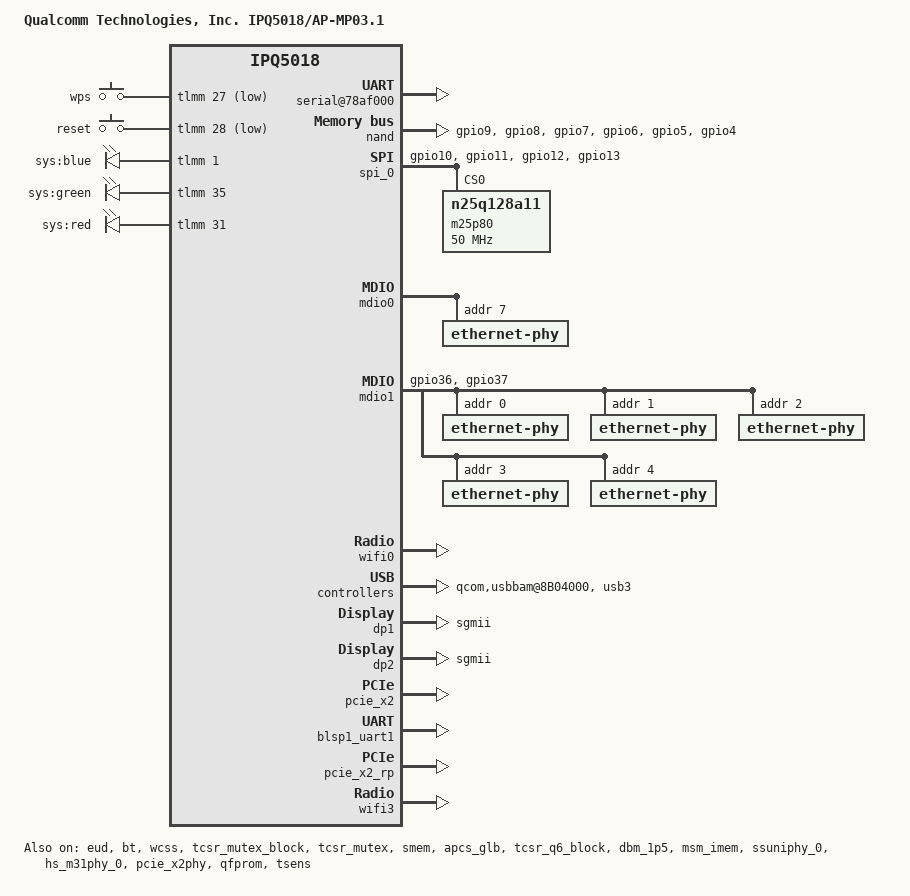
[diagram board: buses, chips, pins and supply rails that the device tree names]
/dts-v1/;
/* Copyright (c) 2018-2020, The Linux Foundation. All rights reserved.
 *
 * Permission to use, copy, modify, and/or distribute this software for any
 * purpose with or without fee is hereby granted, provided that the above
 * copyright notice and this permission notice appear in all copies.
 *
 * THE SOFTWARE IS PROVIDED "AS IS" AND THE AUTHOR DISCLAIMS ALL WARRANTIES
 * WITH REGARD TO THIS SOFTWARE INCLUDING ALL IMPLIED WARRANTIES OF
 * MERCHANTABILITY AND FITNESS. IN NO EVENT SHALL THE AUTHOR BE LIABLE FOR
 * ANY SPECIAL, DIRECT, INDIRECT, OR CONSEQUENTIAL DAMAGES OR ANY DAMAGES
 * WHATSOEVER RESULTING FROM LOSS OF USE, DATA OR PROFITS, WHETHER IN AN
 * ACTION OF CONTRACT, NEGLIGENCE OR OTHER TORTIOUS ACTION, ARISING OUT OF
 * OR IN CONNECTION WITH THE USE OR PERFORMANCE OF THIS SOFTWARE.
 */

#include "qcom-ipq5018.dtsi"

/ {
	#address-cells = <0x2>;
	#size-cells = <0x2>;
	model = "Qualcomm Technologies, Inc. IPQ5018/AP-MP03.1";
	compatible = "qcom,ipq5018-mp03.1", "qcom,ipq5018";
	interrupt-parent = <&intc>;
	#ifdef __IPQ_MEM_PROFILE_256_MB__
	AUTO_MOUNT;
	#endif

	aliases {
		sdhc1 = &sdhc_1; /* SDC1 eMMC slot */
		serial0 = &blsp1_uart1;
		serial1 = &blsp1_uart2;
		ethernet0 = "/soc/dp1";
		ethernet1 = "/soc/dp2";
	        led-boot = &led_sys;
		led-failsafe = &led_sys;
		led-running = &led_sys;
		led-upgrade = &led_sys;
	};

	chosen {
		bootargs = "console=ttyMSM0,115200,n8 rw init=/init";
	#ifdef __IPQ_MEM_PROFILE_256_MB__
		bootargs-append = " swiotlb=1";
	#else
		bootargs-append = " swiotlb=1 coherent_pool=2M";
	#endif
		stdout-path = "serial0";
	};

	reserved-memory {
	#ifdef __IPQ_MEM_PROFILE_256_MB__
	/*            256 MB Profile
	 * +=========+==============+========================+
	 * |        |              |                         |
	 * | Region | Start Offset |          Size           |
	 * |        |              |                         |
	 * +--------+--------------+-------------------------+
	 * |        |              |                         |
	 * |        |              |                         |
	 * |  NSS   |  0x40000000  |          8MB            |
	 * |        |              |                         |
	 * |        |              |                         |
	 * +--------+--------------+-------------------------+
	 * |        |              |                         |
	 * |        |              |                         |
	 * |        |              |                         |
	 * |        |              |                         |
	 * | Linux  |  0x40800000  | Depends on total memory |
	 * |        |              |                         |
	 * |        |              |                         |
	 * |        |              |                         |
	 * +        |              |                         |
	 * +--------+--------------+-------------------------+
	 * |        |              |                         |
	 * | uboot  |  0x4A600000  |           4MB           |
	 * |        |              |                         |
	 * +--------+--------------+-------------------------+
	 * |  SBL   |  0x4AA00000  |           1MB           |
	 * +--------+--------------+-------------------------+
	 * |  smem  |  0x4AB00000  |           1MB           |
	 * +--------+--------------+-------------------------+
	 * |        |              |                         |
	 * |   TZ   |  0x4AC00000  |           4MB           |
	 * |        |              |                         |
	 * +--------+--------------+-------------------------+
	 * |        |              |                         |
	 * |        |              |                         |
	 * |        |              |                         |
	 * |   Q6   |  0x4B000000  |          23MB           |
	 * |        |              |                         |
	 * |        |              |                         |
	 * |        |              |                         |
	 * +--------+--------------+-------------------------+
	 * | M3 Dump| 0x4C700000   |          1MB            |
	 * +--------+--------------+-------------------------+
	 * | QDSS   | 0x4C800000   |          1MB            |
	 * +--------+--------------+-------------------------+
	 * |        |              |                         |
	 * |QCN9000 |  0x4C900000  |          17MB           |
	 * |        |              |                         |
	 * +--------+--------------+-------------------------+
	 * |        |              |                         |
	 * |  MHI1  |  0x4DA00000  |          16MB           |
	 * |        |              |                         |
	 * +--------+--------------+-------------------------+
	 * |                                                 |
	 * |      Rest of the memory for Linux               |
	 * |                                                 |
	 * +=================================================+
	 */
		q6_region: wcnss@4b000000 {
			no-map;
			reg = <0x0 0x4b000000 0x0 0x01700000>;
		};

		m3_dump@4c700000 {
			no-map;
			reg = <0x0 0x4C700000 0x0 0x100000>;
		};

		q6_etr_region:q6_etr_dump@4c800000 {
			no-map;
			reg = <0x0 0x4c800000 0x0 0x100000>;
		};

		qcn9000_pcie0@4c900000 {
			no-map;
			reg = <0x0 0x4C900000 0x0 0x01100000>;
		};

		mhi_region1: dma_pool1@4da00000 {
			compatible = "shared-dma-pool";
			no-map;
			reg = <0x0 0x4da00000 0x0 0x01000000>;
		};
	#elif __IPQ_MEM_PROFILE_512_MB__
	/*                      512 MB Profile
	 * +=========+==============+========================+
	 * |        |              |                         |
	 * | Region | Start Offset |          Size           |
	 * |        |              |                         |
	 * +--------+--------------+-------------------------+
	 * |        |              |                         |
	 * |        |              |                         |
	 * |  NSS   |  0x40000000  |          16MB           |
	 * |        |              |                         |
	 * |        |              |                         |
	 * +--------+--------------+-------------------------+
	 * |        |              |                         |
	 * |        |              |                         |
	 * |        |              |                         |
	 * |        |              |                         |
	 * | Linux  |  0x41000000  | Depends on total memory |
	 * |        |              |                         |
	 * |        |              |                         |
	 * |        |              |                         |
	 * |        |              |                         |
	 * +--------+--------------+-------------------------+
	 * |        |              |                         |
	 * | uboot  |  0x4A600000  |           4MB           |
	 * |        |              |                         |
	 * +--------+--------------+-------------------------+
	 * |  SBL   |  0x4AA00000  |           1MB           |
	 * +--------+--------------+-------------------------+
	 * |  smem  |  0x4AB00000  |           1MB           |
	 * +--------+--------------+-------------------------+
	 * |        |              |                         |
	 * |   TZ   |  0x4AC00000  |           4MB           |
	 * |        |              |                         |
	 * +--------+--------------+-------------------------+
	 * |        |              |                         |
	 * |        |              |                         |
	 * |        |              |                         |
	 * |   Q6   |  0x4B000000  |          24MB           |
	 * |        |              |                         |
	 * |        |              |                         |
	 * +--------+--------------+-------------------------+
	 * | M3 Dump|  0x4C800000  |           1MB           |
	 * +--------+--------------+-------------------------+
	 * |  QDSS  |  0x4C900000  |           1MB           |
	 * +--------+--------------+-------------------------+
	 * | caldb  |  0x4CA00000  |           2MB           |
	 * +--------+--------------+-------------------------+
	 * |        |              |                         |
	 * |QCN9000 |  0x4CC00000  |          30MB           |
	 * |        |              |                         |
	 * +--------+--------------+-------------------------+
	 * |        |              |                         |
	 * |  MHI1  |  0x4EA00000  |          16MB           |
	 * |        |              |                         |
	 * +--------+--------------+-------------------------+
	 * |                                                 |
	 * |      Rest of the memory for Linux               |
	 * |                                                 |
	 * +=================================================+
	 */
		q6_region: wcnss@4b000000 {
			no-map;
			reg = <0x0 0x4b000000 0x0 0x01800000>;
		};

		m3_dump@4c800000 {
			no-map;
			reg = <0x0 0x4c800000 0x0 0x100000>;
		};

		q6_etr_region:q6_etr_dump@4c900000 {
			no-map;
			reg = <0x0 0x4c900000 0x0 0x100000>;
		};

		q6_caldb_region:q6_caldb_region@4ca00000 {
			no-map;
			reg = <0x0 0x4ca00000 0x0 0x200000>;
		};

		qcn9000_pcie0@4cc00000 {
			no-map;
			reg = <0x0 0x4CC00000 0x0 0x01E00000>;
		};

		mhi_region1: dma_pool1@4ea00000 {
			compatible = "shared-dma-pool";
			no-map;
			reg = <0x0 0x4ea00000 0x0 0x01000000>;
		};
	#else
	/*                      1G Profile
	 * +=========+==============+========================+
	 * |        |              |                         |
	 * | Region | Start Offset |          Size           |
	 * |        |              |                         |
	 * +--------+--------------+-------------------------+
	 * |        |              |                         |
	 * |        |              |                         |
	 * |  NSS   |  0x40000000  |          16MB           |
	 * |        |              |                         |
	 * |        |              |                         |
	 * +--------+--------------+-------------------------+
	 * |        |              |                         |
	 * |        |              |                         |
	 * |        |              |                         |
	 * |        |              |                         |
	 * | Linux  |  0x41000000  | Depends on total memory |
	 * |        |              |                         |
	 * |        |              |                         |
	 * |        |              |                         |
	 * |        |              |                         |
	 * +--------+--------------+-------------------------+
	 * |        |              |                         |
	 * | uboot  |  0x4A600000  |           4MB           |
	 * |        |              |                         |
	 * +--------+--------------+-------------------------+
	 * |  SBL   |  0x4AA00000  |           1MB           |
	 * +--------+--------------+-------------------------+
	 * |  smem  |  0x4AB00000  |           1MB           |
	 * +--------+--------------+-------------------------+
	 * |        |              |                         |
	 * |   TZ   |  0x4AC00000  |           4MB           |
	 * |        |              |                         |
	 * +--------+--------------+-------------------------+
	 * |        |              |                         |
	 * |        |              |                         |
	 * |        |              |                         |
	 * |   Q6   |  0x4B000000  |          24MB           |
	 * |        |              |                         |
	 * |        |              |                         |
	 * +--------+--------------+-------------------------+
	 * | M3 Dump|  0x4C800000  |           1MB           |
	 * +--------+--------------+-------------------------+
	 * |  QDSS  |  0x4C900000  |           1MB           |
	 * +--------+--------------+-------------------------+
	 * | caldb  |  0x4CA00000  |           2MB           |
	 * +--------+--------------+-------------------------+
	 * |        |              |                         |
	 * |QCN9000 |  0x4CC00000  |          45MB           |
	 * |        |              |                         |
	 * +--------+--------------+-------------------------+
	 * |        |              |                         |
	 * |  MHI1  |  0x4F900000  |          24MB           |
	 * |        |              |                         |
	 * +--------+--------------+-------------------------+
	 * |                                                 |
	 * |      Rest of the memory for Linux               |
	 * |                                                 |
	 * +=================================================+
	 */
		q6_region: wcnss@4b000000 {
			no-map;
			reg = <0x0 0x4b000000 0x0 0x01800000>;
		};

		m3_dump@4c800000 {
			no-map;
			reg = <0x0 0x4c800000 0x0 0x100000>;
		};

		q6_etr_region:q6_etr_dump@4c900000 {
			no-map;
			reg = <0x0 0x4c900000 0x0 0x100000>;
		};

		q6_caldb_region:q6_caldb_region@4ca00000 {
			no-map;
			reg = <0x0 0x4ca00000 0x0 0x200000>;
		};

		qcn9000_pcie0@4cc00000 {
			no-map;
			reg = <0x0 0x4CC00000 0x0 0x02D00000>;
		};

		mhi_region1: dma_pool1@4F900000 {
			compatible = "shared-dma-pool";
			no-map;
			reg = <0x0 0x4F900000 0x0 0x01800000>;
		};
	#endif
	};

	soc {
		serial@78af000 {
			status = "ok";
		};

		blsp1_uart2: serial@78b0000 {
			pinctrl-0 = <&blsp1_uart_pins>;
			pinctrl-names = "default";
		};

		qpic_bam: dma@7984000{
			status = "ok";
		};

		nand: qpic-nand@79b0000 {
			pinctrl-0 = <&qspi_nand_pins>;
			pinctrl-names = "default";
			status = "ok";
		};

		spi_0: spi@78b5000 { /* BLSP1 QUP0 */
			pinctrl-0 = <&blsp0_spi_pins>;
			pinctrl-names = "default";
			cs-select = <0>;
			status = "ok";

			m25p80@0 {
				#address-cells = <1>;
				#size-cells = <1>;
				reg = <0>;
				compatible = "n25q128a11";
				linux,modalias = "m25p80", "n25q128a11";
				spi-max-frequency = <50000000>;
				use-default-sizes;
			};
		};

		mdio0: mdio@88000 {
			status = "ok";

			ethernet-phy@0 {
				reg = <7>;
			};
		};

		mdio1: mdio@90000 {
			status = "ok";
			pinctrl-0 = <&mdio1_pins>;
			pinctrl-names = "default";
			phy-reset-gpio = <&tlmm 39 0>;
			ethernet-phy@0 {
				reg = <0>;
			};

			ethernet-phy@1 {
				reg = <1>;
			};

			ethernet-phy@2 {
				reg = <2>;
			};

			ethernet-phy@3 {
				reg = <3>;
			};

			ethernet-phy@4 {
				reg = <4>;
			};
		};

		ess-instance {
			num_devices = <0x2>;
			ess-switch@0x39c00000 {
				compatible = "qcom,ess-switch-ipq50xx";
				device_id = <0>;
				switch_mac_mode = <0xf>; /* mac mode for uniphy instance*/
				cmnblk_clk = "internal_96MHz"; /* cmnblk clk*/
				qcom,port_phyinfo {
					port@0 {
						port_id = <1>;
						phy_address = <7>;
					};
					port@1 {
						port_id = <2>;
						forced-speed = <1000>;
						forced-duplex = <1>;
					};
				};
				led_source@0 {
					source = <2>;
					mode = "normal";
					speed = "1000M";
					blink_en = "enable";
					active = "high";
				};
				led_source@1 {
					source = <0>;
					mode = "normal";
					speed = "100M";
					blink_en = "enable";
					active = "high";
				};
			};
			ess-switch1@1 {
				compatible = "qcom,ess-switch-qca83xx";
				device_id = <1>;
				switch_access_mode = "mdio";
				mdio-bus = <&mdio1>;
				reset_gpio = <0x27>;
				switch_cpu_bmp = <0x40>;  /* cpu port bitmap */
				switch_lan_bmp = <0x3c>; /* lan port bitmap */
				switch_wan_bmp = <0x0>;  /* wan port bitmap */
				qca,ar8327-initvals = <
						0x00004 0x7600000   /* PAD0_MODE */
						0x00008 0x1000000   /* PAD5_MODE */
						0x0000c 0x80        /* PAD6_MODE */
						0x00010 0x2613a0    /* PORT6 FORCE MODE*/
						0x000e4 0xaa545     /* MAC_POWER_SEL */
						0x000e0 0xc74164de  /* SGMII_CTRL */
						0x0007c 0x4e        /* PORT0_STATUS */
						0x00094 0x4e        /* PORT6_STATUS */
				>;
				qcom,port_phyinfo {
					port@0 {
						port_id = <1>;
						phy_address = <0>;
					};
					port@1 {
						port_id = <2>;
						phy_address = <1>;
					};
					port@2 {
						port_id = <3>;
						phy_address = <2>;
					};
					port@3 {
						port_id = <4>;
						phy_address = <3>;
					};
					port@4 {
						port_id = <5>;
						phy_address = <4>;
					};
				};
			};
		};

		wifi0: wifi@c000000 {
			qcom,bdf-addr = <0x4BA00000 0x4BA00000 0x4BA00000
						0x0 0x0>;
			qcom,caldb-addr = <0x4CA00000 0x4CA00000 0x4CA00000
						0x0 0x0>;
			qcom,caldb-size = <0x200000>;
			status = "ok";
		};

		ess-uniphy@98000 {
			status = "disabled";
		};

		qcom,sps {
			status = "ok";
		};

		qcom,usbbam@8B04000 {
			status = "ok";
		};

		qcom,diag@0 {
			status = "ok";
		};

		dp1 {
			device_type = "network";
			compatible = "qcom,nss-dp";
			clocks = <&gcc GCC_SNOC_GMAC0_AXI_CLK>;
			clock-names = "nss-snoc-gmac-axi-clk";
			qcom,id = <1>;
			reg = <0x39C00000 0x10000>;
			interrupts = <GIC_SPI 101 IRQ_TYPE_LEVEL_HIGH>;
			qcom,mactype = <2>;
			qcom,link-poll = <1>;
			qcom,phy-mdio-addr = <7>;
			mdio-bus = <&mdio0>;
			local-mac-address = [000000000000];
			phy-mode = "sgmii";
		};

		dp2 {
			device_type = "network";
			compatible = "qcom,nss-dp";
			clocks = <&gcc GCC_SNOC_GMAC1_AXI_CLK>;
			clock-names = "nss-snoc-gmac-axi-clk";
			qcom,id = <2>;
			reg = <0x39D00000 0x10000>;
			interrupts = <GIC_SPI 109 IRQ_TYPE_LEVEL_HIGH>;
			qcom,mactype = <2>;
			local-mac-address = [000000000000];
			phy-mode = "sgmii";
		};

		rpm_etm0 {
			status = "disabled";
		};
	};

	thermal-zones {
		status = "ok";
	};
};

&tlmm {
	pinctrl-0 = <&blsp0_uart_pins &phy_led_pins>;
	pinctrl-names = "default";

	blsp0_uart_pins: blsp0_uart_pins {
		blsp0_uart_rx_tx {
			pins = "gpio20", "gpio21";
			function = "blsp0_uart0";
			bias-disable;
		};
	};

	blsp1_uart_pins: blsp1_uart_pins {
		blsp1_uart_rx_tx {
			pins = "gpio23", "gpio25", "gpio24", "gpio26";
			function = "blsp1_uart2";
			bias-disable;
		};
	};

	blsp0_spi_pins: blsp0_spi_pins {
		mux {
			pins = "gpio10", "gpio11", "gpio12", "gpio13";
			function = "blsp0_spi";
			drive-strength = <2>;
			bias-disable;
		};
	};

	qspi_nand_pins: qspi_nand_pins {
		qspi_clock {
				pins = "gpio9";
				function = "qspi_clk";
				drive-strength = <8>;
				bias-disable;
			};
		qspi_cs {
				pins = "gpio8";
				function = "qspi_cs";
				drive-strength = <8>;
				bias-disable;
			};
		qspi_data_0 {
				pins = "gpio7";
				function = "qspi0";
				drive-strength = <8>;
				bias-disable;
			};
		qspi_data_1 {
				pins = "gpio6";
				function = "qspi1";
				drive-strength = <8>;
				bias-disable;
			};
		qspi_data_2 {
				pins = "gpio5";
				function = "qspi2";
				drive-strength = <8>;
				bias-disable;
			};
		qspi_data_3 {
				pins = "gpio4";
				function = "qspi3";
				drive-strength = <8>;
				bias-disable;
			};
	};

	mdio1_pins: mdio_pinmux {
		mux_0 {
			pins = "gpio36";
			function = "mdc";
			drive-strength = <8>;
			bias-pull-up;
		};

		mux_1 {
			pins = "gpio37";
			function = "mdio";
			drive-strength = <8>;
			bias-pull-up;
		};
	};

	phy_led_pins: phy_led_pins {
                gephy_led_pin_1g {
                        pins = "gpio30";
                        function = "led2";
                        drive-strength = <8>;
                        bias-pull-down;
                };
                gephy_led_pin_100 {
                        pins = "gpio46";
                        function = "led0";
                        drive-strength = <8>;
                        bias-pull-down;
                };
	};

	i2c_pins: i2c_pins {
		i2c_scl {
			pins = "gpio25";
			function = "blsp2_i2c1";
			drive-strength = <8>;
			bias-disable;
		};

		i2c_sda {
			pins = "gpio26";
			function = "blsp2_i2c1";
			drive-strength = <8>;
			bias-disable;
		};
	};

	button_pins: button_pins {
		wps_button {
			pins = "gpio27";
			function = "gpio";
			drive-strength = <8>;
			bias-pull-up;
		};
		
		reset_button {
			pins = "gpio28";
			function = "gpio";
			drive-strength = <8>;
			bias-pull-up;
		};
	};

	leds_pins: leds_pinmux {
		sys_blue {
			pins = "gpio1";
			function = "gpio";
			drive-strength = <8>;
			bias-pull-up;
		};
		sys_green {
			pins = "gpio35";
			function = "gpio";
			drive-strength = <8>;
			bias-disable;
		};
		sys_red {
			pins = "gpio31";
			function = "gpio";
			drive-strength = <8>;
			bias-disable;
		};
	};

};

&soc {
	gpio_keys {
		compatible = "gpio-keys";
		pinctrl-0 = <&button_pins>;
		pinctrl-names = "default";

		button@1 {
			label = "wps";
			linux,code = <KEY_WPS_BUTTON>;
			gpios = <&tlmm 27 GPIO_ACTIVE_LOW>;
			linux,input-type = <1>;
			debounce-interval = <60>;
		};
	
		button@2 {
			label = "reset";
			linux,code = <KEY_RESTART>;
			gpios = <&tlmm 28 GPIO_ACTIVE_LOW>;
			linux,input-type = <1>;
			debounce-interval = <60>;
		};
	};
	gpio_leds {
		compatible = "gpio-leds";
		pinctrl-0 = <&leds_pins>;
		pinctrl-names = "default";

		led_sys: led@1 {
			label = "sys:blue";
			gpios = <&tlmm 1 GPIO_ACTIVE_HIGH>;  /* GPIO_1 */
			default-state="on";
		};
		led@35 {
			label = "sys:green";
			gpios = <&tlmm 35 GPIO_ACTIVE_HIGH>;  /* GPIO_35 */
			default-state="off";
		};
		led@31 {
			label = "sys:red";
			gpios = <&tlmm 31 GPIO_ACTIVE_HIGH>;  /* GPIO_31 */
			default-state="off";
		};
	};
};

&usb3 {
	qcom,multiplexed-phy;
	qcom,phy-mux-regs = <&tcsr_q6_block 0x2540>;
	device-power-gpio = <&tlmm 24 1>;
	status = "ok";
};

&eud {
	status = "ok";
};

&pcie_x1 {
	status = "disabled";
	perst-gpio = <&tlmm 18 1>;
};

&pcie_x2 {
	status = "ok";
	perst-gpio = <&tlmm 15 1>;
};

&bt {
	status = "ok";
};

&wcss {
	status = "ok";
};

&q6v5_wcss {
	status = "disabled";
};

&q6v5_m3 {
	status = "disabled";
};

&tcsr_mutex_block {
	status = "ok";
};

&tcsr_mutex {
	status = "ok";
};

&smem {
	status = "ok";
};

&apcs_glb {
	status = "ok";
};

&tcsr_q6_block {
	status = "ok";
};

&qcom_q6v5_wcss {
	#ifdef __IPQ_MEM_PROFILE_256_MB__
		memory-region = <&q6_region>, <&q6_etr_region>;
	#else
		memory-region = <&q6_region>, <&q6_etr_region>,
				<&q6_caldb_region>;
	#endif
	/* IPQ5018 */
	q6v5_wcss_userpd1 {
		m3_firmware = "IPQ5018/m3_fw.mdt";
		interrupts-extended = <&wcss_smp2p_in 8 0>,
			<&wcss_smp2p_in 9 0>,
			<&wcss_smp2p_in 12 0>,
			<&wcss_smp2p_in 11 0>;
		interrupt-names ="fatal",
			"ready",
			"spawn_ack",
			"stop-ack";
		qcom,smem-states = <&wcss_smp2p_out 8>,
			<&wcss_smp2p_out 9>,
			<&wcss_smp2p_out 10>;
		qcom,smem-state-names = "shutdown",
			"stop",
			"spawn";
		qca,asid = <1>;
		qca,auto-restart;
		qca,int_radio;
	};
};

&i2c_0 {
	pinctrl-0 = <&i2c_pins>;
	pinctrl-names = "default";
	status = "disabled";
};

&dbm_1p5 {
	status = "ok";
};

&msm_imem {
	status = "ok";
};

&blsp1_uart1 {
	status = "ok";
};

&ssuniphy_0 {
	status = "ok";
};

&hs_m31phy_0 {
	status = "ok";
};

&pcie_x1phy {
	status = "disabled";
};

&pcie_x2phy {
	status = "ok";
};

&pcie_x1_rp {
	status = "disabled";

	mhi_0: qcom,mhi@0 {
		reg = <0 0 0 0 0 >;
	};
};

&pcie_x2_rp {
	status = "ok";

	mhi_1: qcom,mhi@1 {
		reg = <0 0 0 0 0 >;
		qrtr_instance_id = <0x20>;
		#address-cells = <0x2>;
		#size-cells = <0x2>;
		memory-region = <&mhi_region1>;
#if !defined(__CNSS2__)
		base-addr = <0x4CC00000>;
		m3-dump-addr = <0x4E000000>;
		etr-addr = <0x4E100000>;
		qcom,caldb-addr = <0x4E200000>;
		qcom,tgt-mem-mode = <0x1>;
		mhi,max-channels = <30>;
		mhi,timeout = <10000>;
#endif
	};
};

&wifi0 {
	/* IPQ5018 */
	qcom,board_id = <0x24>;
	status = "ok";
};

&wifi3 {
	/* QCN9000 5G */
	board_id = <0xa0>;
	status = "ok";
};

&qfprom {
	status = "ok";
};

&tsens {
	status = "ok";
};
